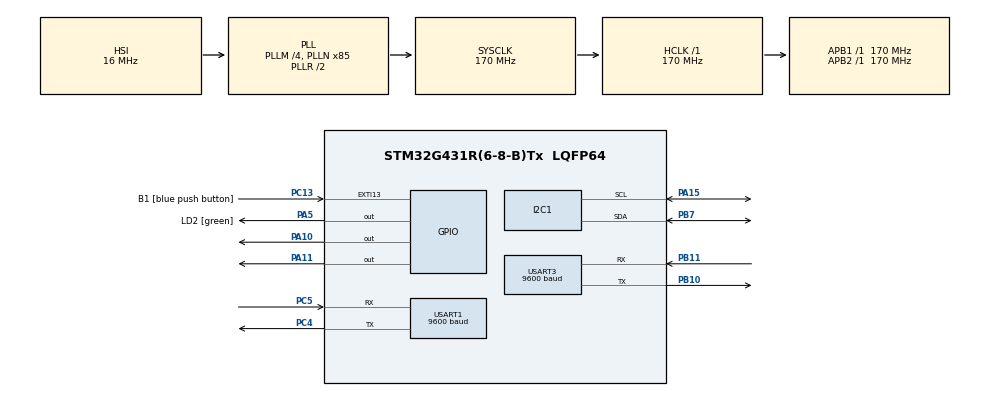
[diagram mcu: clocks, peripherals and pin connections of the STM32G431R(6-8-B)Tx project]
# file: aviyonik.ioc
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Dma.Request0=USART3_RX
Dma.USART3_RX.0.Direction=DMA_PERIPH_TO_MEMORY
Dma.USART3_RX.0.EventEnable=DISABLE
Dma.USART3_RX.0.Instance=DMA1_Channel1
Dma.USART3_RX.0.MemDataAlignment=DMA_MDATAALIGN_BYTE
Dma.USART3_RX.0.MemInc=DMA_MINC_ENABLE
Dma.USART3_RX.0.Mode=DMA_CIRCULAR
Dma.USART3_RX.0.PeriphDataAlignment=DMA_PDATAALIGN_BYTE
Dma.USART3_RX.0.PeriphInc=DMA_PINC_DISABLE
Dma.USART3_RX.0.Polarity=HAL_DMAMUX_REQ_GEN_RISING
Dma.USART3_RX.0.Priority=DMA_PRIORITY_LOW
Dma.USART3_RX.0.RequestNumber=1
Dma.USART3_RX.0.SignalID=NONE
Dma.USART3_RX.0.SyncEnable=DISABLE
Dma.USART3_RX.0.SyncPolarity=HAL_DMAMUX_SYNC_NO_EVENT
Dma.USART3_RX.0.SyncRequestNumber=1
Dma.USART3_RX.0.SyncSignalID=NONE
FREERTOS.Tasks01=myTask01,24,128,StartTask01,Default,NULL,Dynamic,NULL,NULL;myTask02,24,128,StartTask02,Default,NULL,Dynamic,NULL,NULL;myTask03,24,128,StartTask03,Default,NULL,Dynamic,NULL,NULL;myTask04,24,128,StartTask04,Default,NULL,Dynamic,NULL,NULL
I2C1.Timing=0x30A0A7FB
Mcu.Family=STM32G4
Mcu.Name=STM32G431R(6-8-B)Tx
Mcu.Package=LQFP64
NVIC.DMA1_Channel1_IRQn=true\:0\:0\:false\:false\:true\:true\:false\:true
NVIC.PriorityGroup=NVIC_PRIORITYGROUP_4
NVIC.TIM2_IRQn=true\:0\:0\:false\:false\:true\:false\:false\:true
NVIC.TimeBase=TIM2_IRQn
NVIC.TimeBaseIP=TIM2
NVIC.USART3_IRQn=true\:0\:0\:false\:false\:true\:true\:true\:true
PA10.Signal=GPIO_Output
PA11.Signal=GPIO_Output
PA13.GPIO_Label=T_SWDIO
PA13.Mode=Serial_Wire
PA13.Signal=SYS_JTMS-SWDIO
PA14.GPIO_Label=T_SWCLK
PA14.Mode=Serial_Wire
PA14.Signal=SYS_JTCK-SWCLK
PA15.Mode=I2C
PA15.Signal=I2C1_SCL
PA5.GPIO_Label=LD2 [green]
PA5.Signal=GPIO_Output
PB10.Mode=Asynchronous
PB10.Signal=USART3_TX
PB11.Mode=Asynchronous
PB11.Signal=USART3_RX
PB3.GPIO_Label=T_SWO
PB3.Signal=SYS_JTDO-SWO
PB7.Mode=I2C
PB7.Signal=I2C1_SDA
PC13.GPIO_Label=B1 [blue push button]
PC13.Signal=GPXTI13
PC14-OSC32_IN.Mode=LSE-External-Oscillator
PC14-OSC32_IN.Signal=RCC_OSC32_IN
PC15-OSC32_OUT.Mode=LSE-External-Oscillator
PC15-OSC32_OUT.Signal=RCC_OSC32_OUT
PC4.Mode=Asynchronous
PC4.Signal=USART1_TX
PC5.Mode=Asynchronous
PC5.Signal=USART1_RX
PF0-OSC_IN.Mode=HSE-External-Oscillator
PF0-OSC_IN.Signal=RCC_OSC_IN
PF1-OSC_OUT.Mode=HSE-External-Oscillator
PF1-OSC_OUT.Signal=RCC_OSC_OUT
ProjectManager.HeapSize=0x200
ProjectManager.StackSize=0x400
ProjectManager.TargetToolchain=STM32CubeIDE
RCC.ADC12Freq_Value=170000000
RCC.AHBFreq_Value=170000000
RCC.APB1Freq_Value=170000000
RCC.APB1TimFreq_Value=170000000
RCC.APB2Freq_Value=170000000
RCC.APB2TimFreq_Value=170000000
RCC.CortexFreq_Value=170000000
RCC.EXTERNAL_CLOCK_VALUE=12288000
RCC.HCLKFreq_Value=170000000
RCC.HSE_VALUE=24000000
RCC.HSI48_VALUE=48000000
RCC.HSI_VALUE=16000000
RCC.PLLM=RCC_PLLM_DIV4
RCC.PLLN=85
RCC.RTCClockSelection=RCC_RTCCLKSOURCE_LSE
RCC.SYSCLKFreq_VALUE=170000000
RCC.SYSCLKSource=RCC_SYSCLKSOURCE_PLLCLK
RCC.USBFreq_Value=170000000
RCC.VCOOutputFreq_Value=340000000
USART1.BaudRate=9600
USART1.VirtualMode-Asynchronous=VM_ASYNC
USART3.BaudRate=9600
USART3.VirtualMode-Asynchronous=VM_ASYNC
VP_FREERTOS_VS_CMSIS_V2.Mode=CMSIS_V2
VP_SYS_VS_DBSignals.Mode=DisableDeadBatterySignals
VP_SYS_VS_tim2.Mode=TIM2
board=NUCLEO-G431RB

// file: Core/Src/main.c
/* USER CODE BEGIN Header */
/**
  ******************************************************************************
  * @file           : main.c
  * @brief          : Main program body
  ******************************************************************************
  * @attention
  *
  * <h2><center>&copy; Copyright (c) 2020 STMicroelectronics.
  * All rights reserved.</center></h2>
  *
  * This software component is licensed by ST under BSD 3-Clause license,
  * the "License"; You may not use this file except in compliance with the
  * License. You may obtain a copy of the License at:
  *                        opensource.org/licenses/BSD-3-Clause
  *
  ******************************************************************************
  */
/* USER CODE END Header */
#include "main.h"
#include "cmsis_os.h"

/* USER CODE BEGIN Includes */
#include "Telemetry.h"
#include "Sensor.h"
#include "Gorev.h"
/* USER CODE END Includes */

I2C_HandleTypeDef hi2c1;

UART_HandleTypeDef huart1;
UART_HandleTypeDef huart3;
DMA_HandleTypeDef hdma_usart3_rx;

/* Definitions for myTask01 */
osThreadId_t myTask01Handle;
const osThreadAttr_t myTask01_attributes = {
  .name = "myTask01",
  .priority = (osPriority_t) osPriorityNormal,
  .stack_size = 128 * 4
};
/* Definitions for myTask02 */
osThreadId_t myTask02Handle;
const osThreadAttr_t myTask02_attributes = {
  .name = "myTask02",
  .priority = (osPriority_t) osPriorityNormal,
  .stack_size = 128 * 4
};
/* Definitions for myTask03 */
osThreadId_t myTask03Handle;
const osThreadAttr_t myTask03_attributes = {
  .name = "myTask03",
  .priority = (osPriority_t) osPriorityNormal,
  .stack_size = 128 * 4
};
/* Definitions for myTask04 */
osThreadId_t myTask04Handle;
const osThreadAttr_t myTask04_attributes = {
  .name = "myTask04",
  .priority = (osPriority_t) osPriorityNormal,
  .stack_size = 128 * 4
};
/* USER CODE BEGIN PV */
sBMP280_handle_t hBMP280;
sBNO055_handle_t hBNO055;
sGPS_handle_t hGPS;
sSensor_Data_t Sensor_Data;
sSensor_Data_raw_t Raw_Data;
_Bool Gorev1;
/* USER CODE END PV */

void SystemClock_Config(void);
static void MX_GPIO_Init(void);
static void MX_DMA_Init(void);
static void MX_I2C1_Init(void);
static void MX_USART1_UART_Init(void);
static void MX_USART3_UART_Init(void);
void StartTask01(void *argument);
void StartTask02(void *argument);
void StartTask03(void *argument);
void StartTask04(void *argument);

/* USER CODE BEGIN 0 */
int data_index = 0;
uint8_t package_find = 0;

void HAL_UART_RxCpltCallback(UART_HandleTypeDef *huart){
	  if(huart->Instance == USART3){
			if(hGPS.checkBuffer == 36){
				package_find = 1;
			}

		 if(hGPS.checkBuffer != 10 && package_find == 1){
			 hGPS.gpsBuffer[data_index] = hGPS.checkBuffer;
			 data_index++;
		 }else{
			 hGPS.gpsBuffer[data_index] = hGPS.checkBuffer;
			parseGPS(&hGPS);
			data_index = 0;
			package_find = 0;
		 }

		 HAL_UART_Receive_DMA(&huart3,&hGPS.checkBuffer,1);
		}

}
/* USER CODE END 0 */

int main(void)
{

  /* MCU Configuration--------------------------------------------------------*/

  /* Reset of all peripherals, Initializes the Flash interface and the Systick. */
  HAL_Init();

  /* Configure the system clock */
  SystemClock_Config();

  /* Initialize all configured peripherals */
  MX_GPIO_Init();
  MX_DMA_Init();
  MX_I2C1_Init();
  MX_USART1_UART_Init();
  MX_USART3_UART_Init();
  /* USER CODE BEGIN 2 */
	 HAL_UART_Receive_DMA(&huart3,&hGPS.checkBuffer,1);

	  BMP280_init(&hBMP280);
	  BNO055_init();
  /* USER CODE END 2 */

  /* Init scheduler */
  osKernelInitialize();

  /* Create the thread(s) */
  /* creation of myTask01 */
  myTask01Handle = osThreadNew(StartTask01, NULL, &myTask01_attributes);

  /* creation of myTask02 */
  myTask02Handle = osThreadNew(StartTask02, NULL, &myTask02_attributes);

  /* creation of myTask03 */
  myTask03Handle = osThreadNew(StartTask03, NULL, &myTask03_attributes);

  /* creation of myTask04 */
  myTask04Handle = osThreadNew(StartTask04, NULL, &myTask04_attributes);

  /* Start scheduler */
  osKernelStart();

  /* We should never get here as control is now taken by the scheduler */
  /* Infinite loop */
  while (1)
  {

  }
}

void SystemClock_Config(void)
{
  RCC_OscInitTypeDef RCC_OscInitStruct = {0};
  RCC_ClkInitTypeDef RCC_ClkInitStruct = {0};
  RCC_PeriphCLKInitTypeDef PeriphClkInit = {0};

  /** Configure the main internal regulator output voltage
  */
  HAL_PWREx_ControlVoltageScaling(PWR_REGULATOR_VOLTAGE_SCALE1_BOOST);
  /** Initializes the RCC Oscillators according to the specified parameters
  * in the RCC_OscInitTypeDef structure.
  */
  RCC_OscInitStruct.OscillatorType = RCC_OSCILLATORTYPE_HSI;
  RCC_OscInitStruct.HSIState = RCC_HSI_ON;
  RCC_OscInitStruct.HSICalibrationValue = RCC_HSICALIBRATION_DEFAULT;
  RCC_OscInitStruct.PLL.PLLState = RCC_PLL_ON;
  RCC_OscInitStruct.PLL.PLLSource = RCC_PLLSOURCE_HSI;
  RCC_OscInitStruct.PLL.PLLM = RCC_PLLM_DIV4;
  RCC_OscInitStruct.PLL.PLLN = 85;
  RCC_OscInitStruct.PLL.PLLP = RCC_PLLP_DIV2;
  RCC_OscInitStruct.PLL.PLLQ = RCC_PLLQ_DIV2;
  RCC_OscInitStruct.PLL.PLLR = RCC_PLLR_DIV2;
  if (HAL_RCC_OscConfig(&RCC_OscInitStruct) != HAL_OK)
  {
    Error_Handler();
  }
  /** Initializes the CPU, AHB and APB buses clocks
  */
  RCC_ClkInitStruct.ClockType = RCC_CLOCKTYPE_HCLK|RCC_CLOCKTYPE_SYSCLK
                              |RCC_CLOCKTYPE_PCLK1|RCC_CLOCKTYPE_PCLK2;
  RCC_ClkInitStruct.SYSCLKSource = RCC_SYSCLKSOURCE_PLLCLK;
  RCC_ClkInitStruct.AHBCLKDivider = RCC_SYSCLK_DIV1;
  RCC_ClkInitStruct.APB1CLKDivider = RCC_HCLK_DIV1;
  RCC_ClkInitStruct.APB2CLKDivider = RCC_HCLK_DIV1;

  if (HAL_RCC_ClockConfig(&RCC_ClkInitStruct, FLASH_LATENCY_4) != HAL_OK)
  {
    Error_Handler();
  }
  /** Initializes the peripherals clocks
  */
  PeriphClkInit.PeriphClockSelection = RCC_PERIPHCLK_USART1|RCC_PERIPHCLK_USART3
                              |RCC_PERIPHCLK_I2C1;
  PeriphClkInit.Usart1ClockSelection = RCC_USART1CLKSOURCE_PCLK2;
  PeriphClkInit.Usart3ClockSelection = RCC_USART3CLKSOURCE_PCLK1;
  PeriphClkInit.I2c1ClockSelection = RCC_I2C1CLKSOURCE_PCLK1;
  if (HAL_RCCEx_PeriphCLKConfig(&PeriphClkInit) != HAL_OK)
  {
    Error_Handler();
  }
}

static void MX_I2C1_Init(void)
{

  hi2c1.Instance = I2C1;
  hi2c1.Init.Timing = 0x30A0A7FB;
  hi2c1.Init.OwnAddress1 = 0;
  hi2c1.Init.AddressingMode = I2C_ADDRESSINGMODE_7BIT;
  hi2c1.Init.DualAddressMode = I2C_DUALADDRESS_DISABLE;
  hi2c1.Init.OwnAddress2 = 0;
  hi2c1.Init.OwnAddress2Masks = I2C_OA2_NOMASK;
  hi2c1.Init.GeneralCallMode = I2C_GENERALCALL_DISABLE;
  hi2c1.Init.NoStretchMode = I2C_NOSTRETCH_DISABLE;
  if (HAL_I2C_Init(&hi2c1) != HAL_OK)
  {
    Error_Handler();
  }
  /** Configure Analogue filter
  */
  if (HAL_I2CEx_ConfigAnalogFilter(&hi2c1, I2C_ANALOGFILTER_ENABLE) != HAL_OK)
  {
    Error_Handler();
  }
  /** Configure Digital filter
  */
  if (HAL_I2CEx_ConfigDigitalFilter(&hi2c1, 0) != HAL_OK)
  {
    Error_Handler();
  }

}

static void MX_USART1_UART_Init(void)
{

  huart1.Instance = USART1;
  huart1.Init.BaudRate = 9600;
  huart1.Init.WordLength = UART_WORDLENGTH_8B;
  huart1.Init.StopBits = UART_STOPBITS_1;
  huart1.Init.Parity = UART_PARITY_NONE;
  huart1.Init.Mode = UART_MODE_TX_RX;
  huart1.Init.HwFlowCtl = UART_HWCONTROL_NONE;
  huart1.Init.OverSampling = UART_OVERSAMPLING_16;
  huart1.Init.OneBitSampling = UART_ONE_BIT_SAMPLE_DISABLE;
  huart1.Init.ClockPrescaler = UART_PRESCALER_DIV1;
  huart1.AdvancedInit.AdvFeatureInit = UART_ADVFEATURE_NO_INIT;
  if (HAL_UART_Init(&huart1) != HAL_OK)
  {
    Error_Handler();
  }
  if (HAL_UARTEx_SetTxFifoThreshold(&huart1, UART_TXFIFO_THRESHOLD_1_8) != HAL_OK)
  {
    Error_Handler();
  }
  if (HAL_UARTEx_SetRxFifoThreshold(&huart1, UART_RXFIFO_THRESHOLD_1_8) != HAL_OK)
  {
    Error_Handler();
  }
  if (HAL_UARTEx_DisableFifoMode(&huart1) != HAL_OK)
  {
    Error_Handler();
  }

}

static void MX_USART3_UART_Init(void)
{

  huart3.Instance = USART3;
  huart3.Init.BaudRate = 9600;
  huart3.Init.WordLength = UART_WORDLENGTH_8B;
  huart3.Init.StopBits = UART_STOPBITS_1;
  huart3.Init.Parity = UART_PARITY_NONE;
  huart3.Init.Mode = UART_MODE_TX_RX;
  huart3.Init.HwFlowCtl = UART_HWCONTROL_NONE;
  huart3.Init.OverSampling = UART_OVERSAMPLING_16;
  huart3.Init.OneBitSampling = UART_ONE_BIT_SAMPLE_DISABLE;
  huart3.Init.ClockPrescaler = UART_PRESCALER_DIV1;
  huart3.AdvancedInit.AdvFeatureInit = UART_ADVFEATURE_NO_INIT;
  if (HAL_UART_Init(&huart3) != HAL_OK)
  {
    Error_Handler();
  }
  if (HAL_UARTEx_SetTxFifoThreshold(&huart3, UART_TXFIFO_THRESHOLD_1_8) != HAL_OK)
  {
    Error_Handler();
  }
  if (HAL_UARTEx_SetRxFifoThreshold(&huart3, UART_RXFIFO_THRESHOLD_1_8) != HAL_OK)
  {
    Error_Handler();
  }
  if (HAL_UARTEx_DisableFifoMode(&huart3) != HAL_OK)
  {
    Error_Handler();
  }

}

static void MX_DMA_Init(void)
{

  /* DMA controller clock enable */
  __HAL_RCC_DMAMUX1_CLK_ENABLE();
  __HAL_RCC_DMA1_CLK_ENABLE();

  /* DMA interrupt init */
  /* DMA1_Channel1_IRQn interrupt configuration */
  HAL_NVIC_SetPriority(DMA1_Channel1_IRQn, 0, 0);
  HAL_NVIC_EnableIRQ(DMA1_Channel1_IRQn);

}

static void MX_GPIO_Init(void)
{
  GPIO_InitTypeDef GPIO_InitStruct = {0};

  /* GPIO Ports Clock Enable */
  __HAL_RCC_GPIOC_CLK_ENABLE();
  __HAL_RCC_GPIOF_CLK_ENABLE();
  __HAL_RCC_GPIOA_CLK_ENABLE();
  __HAL_RCC_GPIOB_CLK_ENABLE();

  /*Configure GPIO pin Output Level */
  HAL_GPIO_WritePin(GPIOA, LD2_Pin|GPIO_PIN_10|GPIO_PIN_11, GPIO_PIN_RESET);

  /*Configure GPIO pin : B1_Pin */
  GPIO_InitStruct.Pin = B1_Pin;
  GPIO_InitStruct.Mode = GPIO_MODE_IT_RISING;
  GPIO_InitStruct.Pull = GPIO_NOPULL;
  HAL_GPIO_Init(B1_GPIO_Port, &GPIO_InitStruct);

  /*Configure GPIO pins : LD2_Pin PA10 PA11 */
  GPIO_InitStruct.Pin = LD2_Pin|GPIO_PIN_10|GPIO_PIN_11;
  GPIO_InitStruct.Mode = GPIO_MODE_OUTPUT_PP;
  GPIO_InitStruct.Pull = GPIO_NOPULL;
  GPIO_InitStruct.Speed = GPIO_SPEED_FREQ_LOW;
  HAL_GPIO_Init(GPIOA, &GPIO_InitStruct);

}

void StartTask01(void *argument)
{
  /* USER CODE BEGIN 5 */
  /* Infinite loop */
  for(;;)
  {
	  BMP280_calc_alt(&hBMP280);
	  BNO055_get_euler(&hBNO055);
	  osDelay(100);
  }
  /* USER CODE END 5 */
}

void StartTask02(void *argument)
{
  /* USER CODE BEGIN StartTask02 */
  /* Infinite loop */
  for(;;)
  {
		Sensor_location(&Sensor_Data, &Raw_Data, hGPS, hBMP280);
		Sensor_euler(&Sensor_Data, hBNO055);
		Sensor_velocity(&Sensor_Data, hBMP280);
	    osDelay(100);
  }
  /* USER CODE END StartTask02 */
}

void StartTask03(void *argument)
{
  /* USER CODE BEGIN StartTask03 */
  /* Infinite loop */
  for(;;)
  {
	  if(Sensor_Data.Alt > 1500){
		if(Gorev1_0x1(&Sensor_Data) | Gorev1_0x2(&Sensor_Data)){
			Gorev1 = 1;
			HAL_GPIO_WritePin(GPIOA, GPIO_PIN_10, 1);
			HAL_GPIO_WritePin(LD2_GPIO_Port, LD2_Pin, 1);
		}
	  }
		if(Gorev2(&Sensor_Data, Gorev1)){
			HAL_GPIO_WritePin(GPIOA, GPIO_PIN_11, 1);
			HAL_GPIO_WritePin(LD2_GPIO_Port, LD2_Pin, 1);
		}
		osDelay(100);
  }
  /* USER CODE END StartTask03 */
}

void StartTask04(void *argument)
{
  /* USER CODE BEGIN StartTask04 */
  /* Infinite loop */
  for(;;)
  {
	  Telemetry_send_data(&Sensor_Data);

	  osDelay(3000);
  }
  /* USER CODE END StartTask04 */
}

void HAL_TIM_PeriodElapsedCallback(TIM_HandleTypeDef *htim)
{
  if (htim->Instance == TIM2) {
    HAL_IncTick();
  }
}

void Error_Handler(void)
{
}

/************************ (C) COPYRIGHT STMicroelectronics *****END OF FILE****/
